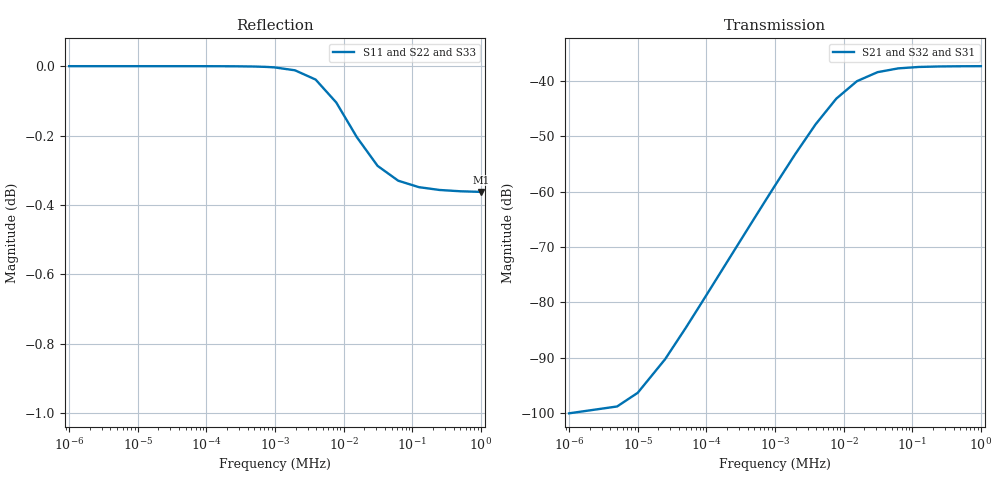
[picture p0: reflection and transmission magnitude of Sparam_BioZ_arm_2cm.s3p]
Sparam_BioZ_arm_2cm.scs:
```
// Momentum eesofbbs_64 12.00 (*) built: Jan 14 2016
//**************************************************

simulator lang=spectre

//bbspice subcircuit with consecutive port numbers.
subckt bbspice_Sparam_BioZ_arm_2cm_subckt (port_1	port_2	port_3	gnd_0)



//PORT_1
vi_1	(port_1	_net_1)	vsource type=dc dc=0.00000000000000e+00
vb_1	(_net_4	_net_5)	vsource type=dc dc=0.00000000000000e+00
R_Z0_1	(_net_1	_net_2)	res r=5.00000000000000e+01	isnoisy=no
H_b_1	(_net_2	gnd_0)	ccvs probe=vb_1 rm=1.41421356237310e+01
E_v_1	(_net_3	gnd_0	port_1	gnd_0)	vcvs gain=7.07106781186548e-02
H_i_1	(_net_4	_net_3)	ccvs probe=vi_1 rm=3.53553390593274e+00


G_port1_port1_p1 (_net_5	gnd_0	_net_5	gnd_0) svccs gainfactor=3.16934703679716e+03 poles=[-8.05020102709532e+04	0.0]//Real pole
G_port1_port1_p2 (_net_5	gnd_0	_net_5	gnd_0) svccs gainfactor=1.89852688956469e+10 poles=[-1.97703193314267e+10	0.0]//Real pole
G_port1_port2_p1 (_net_5	gnd_0	_net_10	gnd_0) svccs gainfactor=-1.06862426742803e+03 poles=[-8.05020102709532e+04	0.0]//Real pole
G_port1_port2_p2 (_net_5	gnd_0	_net_10	gnd_0) svccs gainfactor=2.64020205900108e+08 poles=[-1.97703193314267e+10	0.0]//Real pole
G_port1_port3_p1 (_net_5	gnd_0	_net_15	gnd_0) svccs gainfactor=-1.04302053052246e+03 poles=[-8.05020102709532e+04	0.0]//Real pole
G_port1_port3_p2 (_net_5	gnd_0	_net_15	gnd_0) svccs gainfactor=2.58200400504944e+08 poles=[-1.97703193314267e+10	0.0]//Real pole


//PORT_2
vi_2	(port_2	_net_6)	vsource type=dc dc=0.00000000000000e+00
vb_2	(_net_9	_net_10)	vsource type=dc dc=0.00000000000000e+00
R_Z0_2	(_net_6	_net_7)	res r=5.00000000000000e+01	isnoisy=no
H_b_2	(_net_7	gnd_0)	ccvs probe=vb_2 rm=1.41421356237310e+01
E_v_2	(_net_8	gnd_0	port_2	gnd_0)	vcvs gain=7.07106781186548e-02
H_i_2	(_net_9	_net_8)	ccvs probe=vi_2 rm=3.53553390593274e+00


G_port2_port1_p1 (_net_10	gnd_0	_net_5	gnd_0) svccs gainfactor=-1.06862426742803e+03 poles=[-8.05020102709532e+04	0.0]//Real pole
G_port2_port1_p2 (_net_10	gnd_0	_net_5	gnd_0) svccs gainfactor=2.64020205900108e+08 poles=[-1.97703193314267e+10	0.0]//Real pole
G_port2_port2_p1 (_net_10	gnd_0	_net_10	gnd_0) svccs gainfactor=3.19093039613343e+03 poles=[-8.05020102709532e+04	0.0]//Real pole
G_port2_port2_p2 (_net_10	gnd_0	_net_10	gnd_0) svccs gainfactor=1.89803400637876e+10 poles=[-1.97703193314267e+10	0.0]//Real pole
G_port2_port3_p1 (_net_10	gnd_0	_net_15	gnd_0) svccs gainfactor=-1.05776723435560e+03 poles=[-8.05020102709532e+04	0.0]//Real pole
G_port2_port3_p2 (_net_10	gnd_0	_net_15	gnd_0) svccs gainfactor=2.61536998092345e+08 poles=[-1.97703193314267e+10	0.0]//Real pole


//PORT_3
vi_3	(port_3	_net_11)	vsource type=dc dc=0.00000000000000e+00
vb_3	(_net_14	_net_15)	vsource type=dc dc=0.00000000000000e+00
R_Z0_3	(_net_11	_net_12)	res r=5.00000000000000e+01	isnoisy=no
H_b_3	(_net_12	gnd_0)	ccvs probe=vb_3 rm=1.41421356237310e+01
E_v_3	(_net_13	gnd_0	port_3	gnd_0)	vcvs gain=7.07106781186548e-02
H_i_3	(_net_14	_net_13)	ccvs probe=vi_3 rm=3.53553390593274e+00


G_port3_port1_p1 (_net_15	gnd_0	_net_5	gnd_0) svccs gainfactor=-1.04302053052246e+03 poles=[-8.05020102709532e+04	0.0]//Real pole
G_port3_port1_p2 (_net_15	gnd_0	_net_5	gnd_0) svccs gainfactor=2.58200400504944e+08 poles=[-1.97703193314267e+10	0.0]//Real pole
G_port3_port2_p1 (_net_15	gnd_0	_net_10	gnd_0) svccs gainfactor=-1.05776723435560e+03 poles=[-8.05020102709532e+04	0.0]//Real pole
G_port3_port2_p2 (_net_15	gnd_0	_net_10	gnd_0) svccs gainfactor=2.61536998092345e+08 poles=[-1.97703193314267e+10	0.0]//Real pole
G_port3_port3_p1 (_net_15	gnd_0	_net_15	gnd_0) svccs gainfactor=3.19138408368800e+03 poles=[-8.05020102709532e+04	0.0]//Real pole
G_port3_port3_p2 (_net_15	gnd_0	_net_15	gnd_0) svccs gainfactor=1.89802378394015e+10 poles=[-1.97703193314267e+10	0.0]//Real pole

ends bbspice_Sparam_BioZ_arm_2cm_subckt
//**************************************************

//S-based subckt
//bbspice subcircuit with external port numbers.

subckt bbspice_Sparam_BioZ_arm_2cm	(1	2	3	ref)
x_	(1	2	3	ref)	bbspice_Sparam_BioZ_arm_2cm_subckt
ends bbspice_Sparam_BioZ_arm_2cm

//**************************************************
```
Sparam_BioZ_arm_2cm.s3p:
# GHz S MA R 50
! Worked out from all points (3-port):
!   21 points, 1 Hz to 1 MHz, reference 50 ohm
!   strongest paths, dB at 1 Hz, 75 Hz, 976.6 Hz, 31.25 kHz, 1 MHz:
!     S21: -100.0, -81.2, -59.1, -38.4, -37.3
!     S32: -100.0, -81.2, -59.1, -38.6, -37.4
!     S31: -100.0, -81.2, -59.1, -38.7, -37.4
!   lowest |S11| = -0.4 dB at 1 MHz (marker M1), VSWR 47.94, Z = 2.4e+03 - j39.2 ohm
!   |S11| at or under -10 dB: nowhere
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1e-09  1 -0.0  9.976e-06 6.7  9.976e-06 6.7
       9.976e-06 6.7  1 -0.0  9.976e-06 6.7
       9.976e-06 6.7  9.976e-06 6.7  1 -0.0
7.5e-08  1 -0.0  8.754e-05 82.6  8.754e-05 82.6
         8.754e-05 82.6  1 -0.0  8.754e-05 82.6
         8.754e-05 82.6  8.754e-05 82.6  1 -0.0
3.90625e-06  0.9955 -0.6  0.004057 68.6  0.004033 67.7
             0.004057 68.6  0.9956 -0.6  0.004046 68.3
             0.004033 67.7  0.004046 68.3  0.9956 -0.6
1.5625e-05  0.9767 -1.0  0.009944 37.3  0.009651 36.2
            0.009944 37.3  0.9766 -1.0  0.009822 36.9
            0.009651 36.2  0.009822 36.9  0.9766 -1.0
0.001  0.9591 -0.0  0.01358 0.8  0.01348 0.9
       0.01358 0.8  0.959 -0.0  0.01354 0.9
       0.01348 0.9  0.01354 0.9  0.959 -0.0
